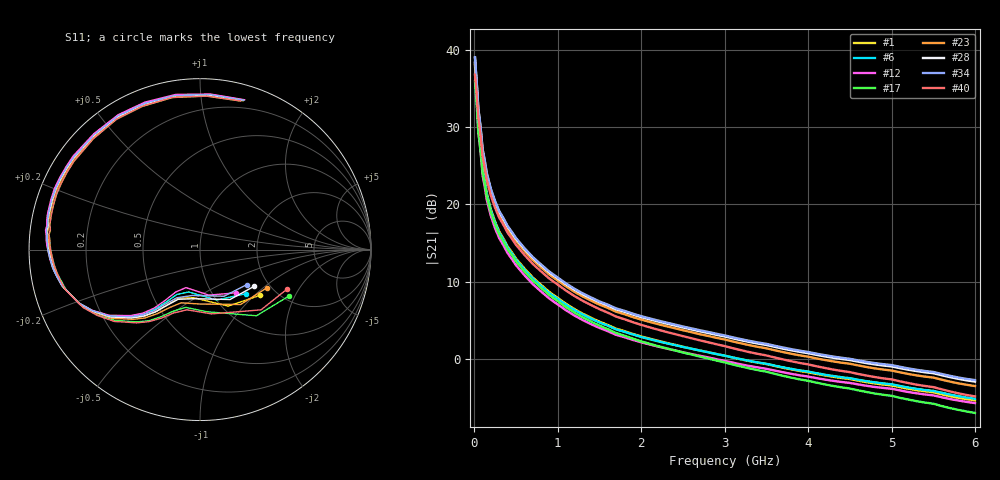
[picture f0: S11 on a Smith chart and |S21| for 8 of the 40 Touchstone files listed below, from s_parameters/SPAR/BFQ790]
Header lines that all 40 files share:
! Infineon Technologies  Discrete & RF Semiconductors
! BFQ790
! Common Emitter S-Parameters:  May 2015
# GHz  S  MA  R  50
!  f  S11  S21  S12  S22
! GHz  MAG  ANG  MAG  ANG  MAG  ANG  MAG  ANG
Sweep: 10 MHz to 6 GHz
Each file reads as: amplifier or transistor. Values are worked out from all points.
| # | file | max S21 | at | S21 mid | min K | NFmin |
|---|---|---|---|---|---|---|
| 1 | BFQ790_w_noise_VCE_1.0V_IC_0.10A.s2p | 38.0 dB | 10 MHz | 2.3 dB at 2.2 GHz | 0.10 | 2.59 dB |
| 2 | BFQ790_w_noise_VCE_1.0V_IC_0.11A.s2p | 38.2 dB | 10 MHz | 2.4 dB at 2.2 GHz | 0.13 | 2.66 dB |
| 3 | BFQ790_w_noise_VCE_1.0V_IC_0.12A.s2p | 38.3 dB | 10 MHz | 2.4 dB at 2.2 GHz | 0.11 | 2.73 dB |
| 4 | BFQ790_w_noise_VCE_1.0V_IC_0.14A.s2p | 38.4 dB | 10 MHz | 2.4 dB at 2.2 GHz | 0.12 | 2.89 dB |
| 5 | BFQ790_w_noise_VCE_1.0V_IC_0.16A.s2p | 38.5 dB | 10 MHz | 2.3 dB at 2.2 GHz | 0.14 | 3.03 dB |
| 6 | BFQ790_w_noise_VCE_1.0V_IC_0.18A.s2p | 38.5 dB | 10 MHz | 2.3 dB at 2.2 GHz | 0.15 | 3.17 dB |
| 7 | BFQ790_w_noise_VCE_1.0V_IC_0.20A.s2p | 38.6 dB | 10 MHz | 2.2 dB at 2.2 GHz | 0.15 | 3.33 dB |
| 8 | BFQ790_w_noise_VCE_1.0V_IC_0.22A.s2p | 38.5 dB | 10 MHz | 2.1 dB at 2.2 GHz | 0.15 | 3.50 dB |
| 9 | BFQ790_w_noise_VCE_1.0V_IC_0.24A.s2p | 38.5 dB | 10 MHz | 2.0 dB at 2.2 GHz | 0.18 | 3.64 dB |
| 10 | BFQ790_w_noise_VCE_1.0V_IC_0.25A.s2p | 38.5 dB | 10 MHz | 1.9 dB at 2.2 GHz | 0.17 | 3.72 dB |
| 11 | BFQ790_w_noise_VCE_1.0V_IC_0.26A.s2p | 38.4 dB | 10 MHz | 1.8 dB at 2.2 GHz | 0.19 | 3.78 dB |
| 12 | BFQ790_w_noise_VCE_1.0V_IC_0.28A.s2p | 38.3 dB | 10 MHz | 1.6 dB at 2.2 GHz | 0.20 | 3.93 dB |
| 13 | BFQ790_w_noise_VCE_1.0V_IC_0.30A.s2p | 38.1 dB | 10 MHz | 1.3 dB at 2.2 GHz | 0.22 | 4.10 dB |
| 14 | BFQ790_w_noise_VCE_1.0V_IC_10mA.s2p | 29.1 dB | 10 MHz | -2.1 dB at 2.2 GHz | 0.08 | 2.10 dB |
| 15 | BFQ790_w_noise_VCE_1.0V_IC_20mA.s2p | 33.0 dB | 10 MHz | 0.3 dB at 2.2 GHz | 0.09 | 2.10 dB |
| 16 | BFQ790_w_noise_VCE_1.0V_IC_30mA.s2p | 34.9 dB | 10 MHz | 1.2 dB at 2.2 GHz | 0.09 | 2.11 dB |
| 17 | BFQ790_w_noise_VCE_1.0V_IC_40mA.s2p | 35.9 dB | 10 MHz | 1.7 dB at 2.2 GHz | 0.09 | 2.18 dB |
| 18 | BFQ790_w_noise_VCE_1.0V_IC_50mA.s2p | 36.6 dB | 10 MHz | 1.9 dB at 2.2 GHz | 0.09 | 2.29 dB |
| 19 | BFQ790_w_noise_VCE_1.0V_IC_60mA.s2p | 37.1 dB | 10 MHz | 2.1 dB at 2.2 GHz | 0.10 | 2.33 dB |
| 20 | BFQ790_w_noise_VCE_1.0V_IC_70mA.s2p | 37.4 dB | 10 MHz | 2.2 dB at 2.2 GHz | 0.11 | 2.39 dB |
| 21 | BFQ790_w_noise_VCE_1.0V_IC_80mA.s2p | 37.7 dB | 10 MHz | 2.3 dB at 2.2 GHz | 0.10 | 2.44 dB |
| 22 | BFQ790_w_noise_VCE_1.0V_IC_90mA.s2p | 37.9 dB | 10 MHz | 2.3 dB at 2.2 GHz | 0.11 | 2.52 dB |
| 23 | BFQ790_w_noise_VCE_2.0V_IC_0.10A.s2p | 38.3 dB | 10 MHz | 4.5 dB at 2.2 GHz | 0.12 | 2.59 dB |
| 24 | BFQ790_w_noise_VCE_2.0V_IC_0.11A.s2p | 38.5 dB | 10 MHz | 4.6 dB at 2.2 GHz | 0.12 | 2.66 dB |
| 25 | BFQ790_w_noise_VCE_2.0V_IC_0.12A.s2p | 38.6 dB | 10 MHz | 4.6 dB at 2.2 GHz | 0.09 | 2.73 dB |
| 26 | BFQ790_w_noise_VCE_2.0V_IC_0.14A.s2p | 38.8 dB | 10 MHz | 4.7 dB at 2.2 GHz | 0.11 | 2.89 dB |
| 27 | BFQ790_w_noise_VCE_2.0V_IC_0.16A.s2p | 38.9 dB | 10 MHz | 4.8 dB at 2.2 GHz | 0.12 | 3.03 dB |
| 28 | BFQ790_w_noise_VCE_2.0V_IC_0.18A.s2p | 39.0 dB | 10 MHz | 4.8 dB at 2.2 GHz | 0.10 | 3.17 dB |
| 29 | BFQ790_w_noise_VCE_2.0V_IC_0.20A.s2p | 39.0 dB | 10 MHz | 4.9 dB at 2.2 GHz | 0.11 | 3.33 dB |
| 30 | BFQ790_w_noise_VCE_2.0V_IC_0.22A.s2p | 39.1 dB | 10 MHz | 4.9 dB at 2.2 GHz | 0.12 | 3.50 dB |
| 31 | BFQ790_w_noise_VCE_2.0V_IC_0.24A.s2p | 39.1 dB | 10 MHz | 4.9 dB at 2.2 GHz | 0.12 | 3.64 dB |
| 32 | BFQ790_w_noise_VCE_2.0V_IC_0.25A.s2p | 39.1 dB | 10 MHz | 5.0 dB at 2.2 GHz | 0.14 | 3.72 dB |
| 33 | BFQ790_w_noise_VCE_2.0V_IC_0.26A.s2p | 39.1 dB | 10 MHz | 5.0 dB at 2.2 GHz | 0.12 | 3.78 dB |
| 34 | BFQ790_w_noise_VCE_2.0V_IC_0.28A.s2p | 39.0 dB | 10 MHz | 5.0 dB at 2.2 GHz | 0.14 | 3.93 dB |
| 35 | BFQ790_w_noise_VCE_2.0V_IC_0.30A.s2p | 39.0 dB | 10 MHz | 5.0 dB at 2.2 GHz | 0.13 | 4.10 dB |
| 36 | BFQ790_w_noise_VCE_2.0V_IC_10mA.s2p | 28.9 dB | 10 MHz | -0.9 dB at 2.2 GHz | 0.06 | 2.10 dB |
| 37 | BFQ790_w_noise_VCE_2.0V_IC_20mA.s2p | 33.0 dB | 10 MHz | 1.8 dB at 2.2 GHz | 0.07 | 2.10 dB |
| 38 | BFQ790_w_noise_VCE_2.0V_IC_30mA.s2p | 35.0 dB | 10 MHz | 2.9 dB at 2.2 GHz | 0.11 | 2.11 dB |
| 39 | BFQ790_w_noise_VCE_2.0V_IC_40mA.s2p | 36.1 dB | 10 MHz | 3.4 dB at 2.2 GHz | 0.11 | 2.18 dB |
| 40 | BFQ790_w_noise_VCE_2.0V_IC_50mA.s2p | 36.8 dB | 10 MHz | 3.8 dB at 2.2 GHz | 0.07 | 2.29 dB |

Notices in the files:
internship_Nexedi/test_ampli_simple/transistor/BFQ790/s_parameters/SPAR/BFQ790/BFQ790_w_noise_VCE_1.0V_IC_0.10A.s2p:
(c) 2015  Infineon Technologies AG, Munich
